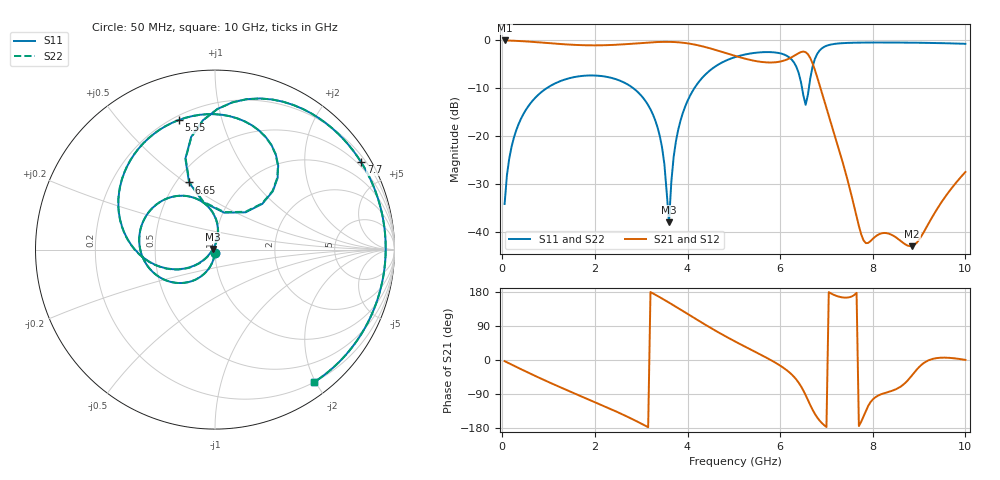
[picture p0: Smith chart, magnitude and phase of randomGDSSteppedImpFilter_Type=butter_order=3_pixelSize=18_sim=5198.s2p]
! freq	dB(S11)	phase(S11)	dB(S12)	phase(S12)
!  dB(S21)	phase(S21)	dB(S22)	phase(S22)
!S-par simulation data
#  GHz  S  DB  R 50
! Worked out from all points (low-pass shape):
!   200 points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, 50 MHz to 10 GHz, reference 50 ohm
!   highest |S21| = 0.00 dB at 50 MHz (marker M1); lowest = -43.0 dB at 8.85 GHz (marker M2)
!   |S21| within 3 dB of the highest: start of sweep to 4.947 GHz; 6.339 GHz to 6.607 GHz (268.4 MHz wide, 4.15 % of centre)
!   lowest |S11| = -38.0 dB at 3.6 GHz (marker M3), VSWR 1.03, Z = 48.8 + j0.322 ohm
!   |S11| at or under -10 dB: start of sweep to 956.3 MHz; 2.83 GHz to 4.147 GHz (1.317 GHz wide, 37.8 % of centre); 6.474 GHz to 6.62 GHz (145.9 MHz wide, 2.23 % of centre)
!   |S22| runs from -39.0 to -0.4 dB; largest |S21 - S12| = 0
!   S11 on the Smith chart (normalised r, x): 50 MHz: 1.00, -0.04; 5.55 GHz: 0.22, +0.73; 6.65 GHz: 0.58, +0.52; 7.7 GHz: 0.37, +3.59; 10 GHz: 0.20, -1.97
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0.05  -34.19 -93.0  -0.00 -3.1  -0.00 -3.1  -34.19 -93.0
0.2  -22.23 -102.5  -0.05 -12.1  -0.05 -12.1  -22.23 -102.5
0.5  -14.66 -120.4  -0.19 -29.8  -0.19 -29.8  -14.66 -120.4
1.75  -7.39 171.4  -1.00 -98.1  -1.00 -98.1  -7.39 171.3
2.85  -10.15 111.9  -0.65 -158.5  -0.65 -158.5  -10.15 111.8
3.4  -19.94 80.7  -0.31 165.7  -0.31 165.7  -19.95 79.9
3.5  -25.86 80.0  -0.29 158.7  -0.29 158.7  -25.91 78.4
3.6  -38.04 164.8  -0.30 151.5  -0.30 151.5  -39.05 166.1
3.7  -24.38 -137.5  -0.33 144.2  -0.33 144.2  -24.42 -136.0
3.95  -13.79 -148.6  -0.54 125.5  -0.54 125.5  -13.80 -148.1
4.4  -6.99 179.8  -1.42 91.9  -1.42 91.9  -6.99 -179.9
5.05  -3.41 136.4  -3.30 47.4  -3.30 47.4  -3.41 136.5
5.55  -2.50 105.7  -4.43 15.9  -4.43 15.9  -2.50 105.8
6.3  -4.63 53.1  -3.23 -44.5  -3.23 -44.5  -4.63 53.4
6.55  -13.47 76.0  -2.45 -92.6  -2.45 -92.6  -13.35 76.1
6.65  -7.94 111.1  -3.68 -118.9  -3.68 -118.9  -7.91 110.8
6.7  -5.48 108.1  -4.80 -131.2  -4.80 -131.2  -5.46 107.8
7  -1.12 73.4  -14.13 -176.8  -14.13 -176.8  -1.12 73.3
7.7  -0.46 30.8  -38.78 -174.3  -38.78 -174.3  -0.46 30.9
8.35  -0.43 3.4  -40.42 -83.8  -40.42 -83.8  -0.43 3.4
8.85  -0.47 -15.2  -43.01 -40.1  -43.01 -40.1  -0.47 -15.2
10  -0.71 -53.4  -27.50 0.2  -27.50 0.2  -0.71 -53.4
